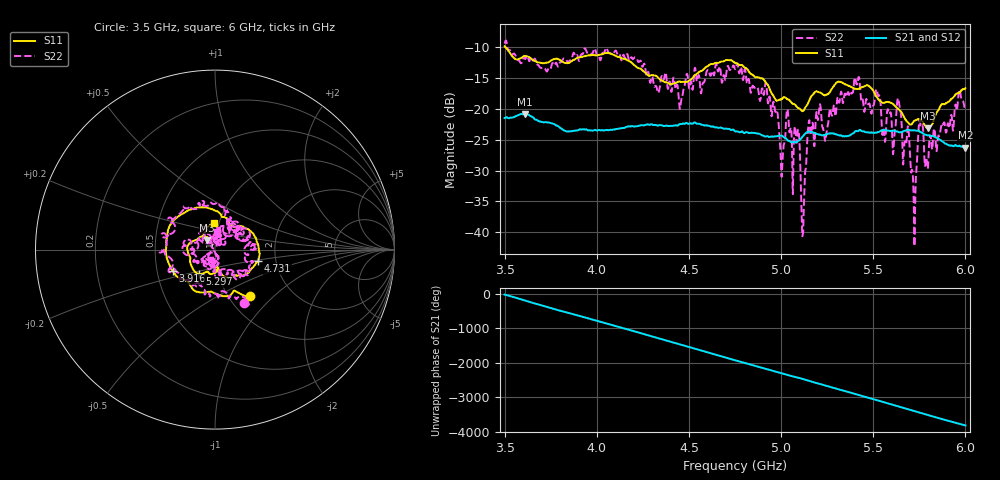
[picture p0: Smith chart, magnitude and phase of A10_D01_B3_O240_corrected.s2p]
! Created with skrf 1.9.0 (http://scikit-rf.org).
# Hz S RI R 50.0
!freq ReS11 ImS11 ReS21 ImS21 ReS12 ImS12 ReS22 ImS22
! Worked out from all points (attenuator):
!   1601 points, 3.5 GHz to 6 GHz, reference 50 ohm
!   highest |S21| = -20.81 dB at 3.609 GHz (marker M1); lowest = -26.3 dB at 6 GHz (marker M2)
!   lowest |S11| = -23.1 dB at 5.795 GHz (marker M3), VSWR 1.15, Z = 45.6 + j4.98 ohm
!   |S11| at or under -10 dB: 3.506 GHz to end of sweep
!   |S22| runs from -42.3 to -8.9 dB; largest |S21 - S12| = 0.0013
!   S11 on the Smith chart (normalised r, x): 3.5 GHz: 1.25, -0.72; 3.916 GHz: 0.60, -0.16; 4.731 GHz: 1.61, -0.22; 5.297 GHz: 0.81, -0.23; 6 GHz: 0.94, +0.28
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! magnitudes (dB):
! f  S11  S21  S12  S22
! 3.5 GHz  -9.8  -21.5  -21.5  -9.4
! 3.609 GHz  -11.4  -20.8  -20.8  -11.8
! 3.916 GHz  -11.6  -23.4  -23.4  -11.2
! 3.917 GHz  -11.6  -23.3  -23.4  -11.1
! 4.334 GHz  -15.0  -22.7  -22.6  -17.4
! 4.731 GHz  -12.1  -23.4  -23.4  -13.5
! 4.75 GHz  -12.5  -23.6  -23.6  -13.5
! 4.925 GHz  -16.0  -24.4  -24.4  -17.8
! 5.005 GHz  -18.3  -24.3  -24.4  -30.2
! 5.036 GHz  -18.4  -25.1  -25.1  -20.1
! 5.086 GHz  -19.7  -25.3  -25.3  -25.2
! 5.117 GHz  -20.3  -24.5  -24.5  -40.4
! 5.167 GHz  -17.8  -23.7  -23.7  -22.8
! 5.297 GHz  -15.9  -24.1  -24.1  -20.9
! 5.412 GHz  -16.7  -23.6  -23.6  -16.0
! 5.584 GHz  -18.9  -23.5  -23.5  -20.5
! 5.611 GHz  -19.3  -23.5  -23.5  -26.3
! 5.641 GHz  -20.1  -23.8  -23.8  -19.1
! 5.719 GHz  -22.1  -23.5  -23.5  -33.9
! 5.756 GHz  -21.7  -23.8  -23.7  -22.5
! 5.795 GHz  -23.1  -24.3  -24.3  -29.7
! 6 GHz  -16.6  -26.3  -26.2  -20.2
